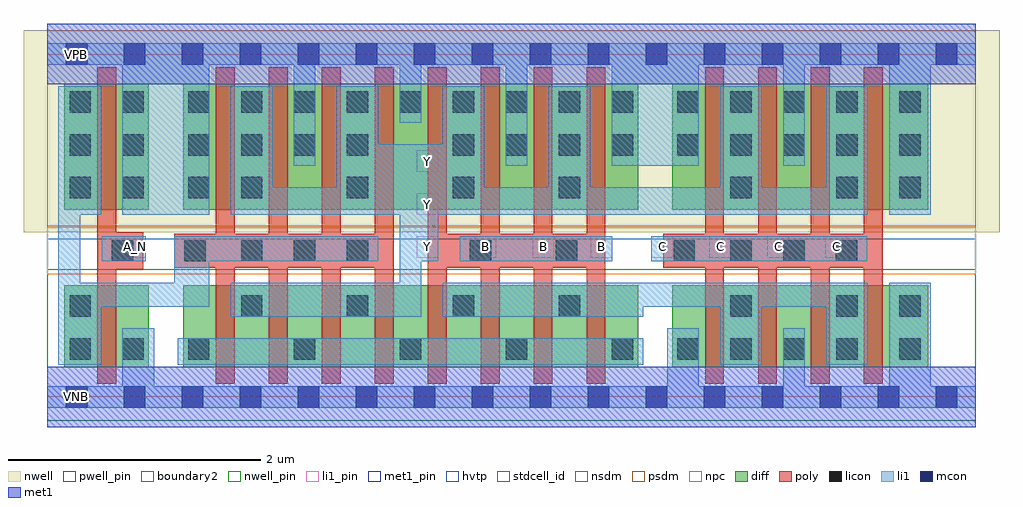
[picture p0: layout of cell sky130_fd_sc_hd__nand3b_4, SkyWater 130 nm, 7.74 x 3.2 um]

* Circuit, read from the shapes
.subckt sky130_fd_sc_hd__nand3b_4 A_N B C VGND VNB VPB VPWR Y
XM1 VGND A_N n1 VNB sky130_fd_pr__nfet_01v8 w=0.65 l=0.15
XM2 Y n1 n2 VNB sky130_fd_pr__nfet_01v8 w=0.65 l=0.15 m=4
XM3 n3 B n2 VNB sky130_fd_pr__nfet_01v8 w=0.65 l=0.15 m=4
XM4 n3 C VGND VNB sky130_fd_pr__nfet_01v8 w=0.65 l=0.15 m=4
XM5 VPWR A_N n1 VPB sky130_fd_pr__pfet_01v8_hvt w=1 l=0.15
XM6 Y n1 VPWR VPB sky130_fd_pr__pfet_01v8_hvt w=1 l=0.15 m=4
XM7 Y B VPWR VPB sky130_fd_pr__pfet_01v8_hvt w=1 l=0.15 m=4
XM8 Y C VPWR VPB sky130_fd_pr__pfet_01v8_hvt w=1 l=0.15 m=4
.ends

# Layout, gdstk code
import gdstk
lib = gdstk.Library(unit=1e-6, precision=1e-09)
def R(c, l, rs):  # rectangles x0, y0, x1, y1
    for r in rs: c.add(gdstk.rectangle(r[:2], r[2:], *l))
def A(c, l, x, y, w, h, nx, ny, dx, dy):  # array of equal rectangles
    R(c, l, [(x+i*dx, y+j*dy, x+i*dx+w, y+j*dy+h) for i in range(nx) for j in range(ny)])
def P(c, l, *ps):  # polygons
    for p in ps: c.add(gdstk.Polygon(p, *l))
nwell_pin = (64, 16)
nwell = (64, 20)
diff = (65, 20)
poly = (66, 20)
licon = (66, 44)
li1_pin = (67, 16)
li1 = (67, 20)
mcon = (67, 44)
met1_pin = (68, 16)
met1 = (68, 20)
hvtp = (78, 44)
stdcell_id = (81, 4)
nsdm = (93, 44)
psdm = (94, 20)
npc = (95, 20)
pwell_pin = (122, 16)
boundary2 = (236, 0)

sky130_fd_sc_hd__nand3b_ = lib.new_cell('sky130_fd_sc_hd__nand3b_4')
R(sky130_fd_sc_hd__nand3b_, nwell_pin, [(0.15,2.635,0.32,2.805)])
R(sky130_fd_sc_hd__nand3b_, nwell, [(-0.19,1.305,7.55,2.91)])
R(sky130_fd_sc_hd__nand3b_, diff, [(0.135,0.235,0.805,0.885), (1.075,0.235,4.685,0.885), (4.955,0.235,6.985,0.885), (0.135,1.485,0.805,2.485), (1.075,1.485,4.685,2.485), (4.955,1.485,6.985,2.485)])
P(sky130_fd_sc_hd__nand3b_, poly, [(6.625,2.615),(6.475,2.615),(6.475,1.295),(6.205,1.295),(6.205,2.615),(6.055,2.615),(6.055,1.295),(5.785,1.295),(5.785,2.615),(5.635,2.615),(5.635,1.295),(5.365,1.295),(5.365,2.615),(5.215,2.615),(5.215,1.295),(4.885,1.295),(4.885,1.025),(5.215,1.025),(5.215,0.105),(5.365,0.105),(5.365,1.025),(5.635,1.025),(5.635,0.105),(5.785,0.105),(5.785,1.025),(6.055,1.025),(6.055,0.105),(6.205,0.105),(6.205,1.025),(6.475,1.025),(6.475,0.105),(6.625,0.105)],
  [(4.425,2.615),(4.275,2.615),(4.275,1.295),(4.005,1.295),(4.005,2.615),(3.855,2.615),(3.855,1.295),(3.585,1.295),(3.585,2.615),(3.435,2.615),(3.435,1.295),(3.165,1.295),(3.165,2.615),(3.015,2.615),(3.015,0.105),(3.165,0.105),(3.165,1.025),(3.435,1.025),(3.435,0.105),(3.585,0.105),(3.585,1.025),(3.855,1.025),(3.855,0.105),(4.005,0.105),(4.005,1.025),(4.275,1.025),(4.275,0.105),(4.425,0.105)],
  [(0.76,1.305),(0.545,1.305),(0.545,2.615),(0.395,2.615),(0.395,0.105),(0.545,0.105),(0.545,1.015),(0.76,1.015)],
  [(2.745,2.615),(2.595,2.615),(2.595,1.295),(2.325,1.295),(2.325,2.615),(2.175,2.615),(2.175,1.295),(1.905,1.295),(1.905,2.615),(1.755,2.615),(1.755,1.295),(1.485,1.295),(1.485,2.615),(1.335,2.615),(1.335,1.295),(1.005,1.295),(1.005,1.025),(1.335,1.025),(1.335,0.105),(1.485,0.105),(1.485,1.025),(1.755,1.025),(1.755,0.105),(1.905,0.105),(1.905,1.025),(2.175,1.025),(2.175,0.105),(2.325,0.105),(2.325,1.025),(2.595,1.025),(2.595,0.105),(2.745,0.105)])
A(sky130_fd_sc_hd__nand3b_, licon, 1.115, 0.295, 0.17, 0.17, 5, 1, 0.84, 0)
A(sky130_fd_sc_hd__nand3b_, licon, 4.995, 0.295, 0.17, 0.17, 4, 2, 0.42, 1.62)
A(sky130_fd_sc_hd__nand3b_, licon, 1.535, 0.635, 0.17, 0.17, 4, 2, 0.84, 0.94)
A(sky130_fd_sc_hd__nand3b_, licon, 1.535, 1.075, 0.17, 0.17, 3, 1, 0.42, 0)
A(sky130_fd_sc_hd__nand3b_, licon, 0.175, 1.575, 0.17, 0.17, 1, 3, 0, 0.34)
A(sky130_fd_sc_hd__nand3b_, licon, 0.595, 1.575, 0.17, 0.17, 1, 3, 0, 0.34)
A(sky130_fd_sc_hd__nand3b_, licon, 6.755, 1.575, 0.17, 0.17, 1, 3, 0, 0.34)
A(sky130_fd_sc_hd__nand3b_, licon, 1.115, 1.915, 0.17, 0.17, 4, 1, 0.42, 0)
A(sky130_fd_sc_hd__nand3b_, licon, 3.215, 1.915, 0.17, 0.17, 4, 1, 0.42, 0)
A(sky130_fd_sc_hd__nand3b_, licon, 1.115, 2.255, 0.17, 0.17, 9, 1, 0.42, 0)
A(sky130_fd_sc_hd__nand3b_, licon, 4.995, 2.255, 0.17, 0.17, 4, 1, 0.42, 0)
R(sky130_fd_sc_hd__nand3b_, licon, [(0.175,0.295,0.345,0.465), (0.595,0.295,0.765,0.465), (6.755,0.295,6.925,0.465), (0.175,0.635,0.345,0.805), (5.415,0.635,5.585,0.805), (6.255,0.635,6.425,0.805), (6.755,0.635,6.925,0.805), (0.51,1.075,0.68,1.245), (1.085,1.075,1.255,1.245), (3.35,1.075,3.52,1.245), (4.03,1.075,4.2,1.245), (4.965,1.075,5.135,1.245), (5.415,1.075,5.585,1.245), (5.835,1.075,6.005,1.245), (6.25,1.075,6.42,1.245), (1.115,1.575,1.285,1.745), (5.415,1.575,5.585,1.745), (6.255,1.575,6.425,1.745)])
A(sky130_fd_sc_hd__nand3b_, li1_pin, 2.93, 1.105, 0.17, 0.17, 4, 1, 0.46, 0)
A(sky130_fd_sc_hd__nand3b_, li1_pin, 4.79, 1.105, 0.17, 0.17, 4, 1, 0.46, 0)
R(sky130_fd_sc_hd__nand3b_, li1_pin, [(0.61,1.105,0.78,1.275), (2.93,1.445,3.1,1.615), (2.93,1.785,3.1,1.955)])
R(sky130_fd_sc_hd__nand3b_, li1, [(1.035,0.255,4.725,0.465), (0.43,1.075,0.78,1.275), (3.27,1.075,4.48,1.275), (4.79,1.075,6.5,1.275)])
P(sky130_fd_sc_hd__nand3b_, li1, [(7.36,0.085),(7.005,0.085),(7.005,0.905),(6.675,0.905),(6.675,0.085),(6.005,0.085),(6.005,0.545),(5.835,0.545),(5.835,0.085),(5.165,0.085),(5.165,0.545),(4.915,0.545),(4.915,0.085),(0.845,0.085),(0.845,0.545),(0.595,0.545),(0.595,0.085),(0,0.085),(0,-0.085),(7.36,-0.085)],
  [(7.36,2.805),(0,2.805),(0,2.635),(0.595,2.635),(0.595,1.445),(1.285,1.445),(1.285,2.635),(1.955,2.635),(1.955,1.835),(2.125,1.835),(2.125,2.635),(2.795,2.635),(2.795,2.175),(2.965,2.175),(2.965,2.635),(3.635,2.635),(3.635,1.835),(3.805,1.835),(3.805,2.635),(4.475,2.635),(4.475,1.835),(5.165,1.835),(5.165,2.635),(5.835,2.635),(5.835,1.835),(6.005,1.835),(6.005,2.635),(6.675,2.635),(6.675,1.445),(7.005,1.445),(7.005,2.635),(7.36,2.635)],
  [(6.505,0.905),(3.135,0.905),(3.135,0.635),(4.725,0.635),(4.725,0.715),(5.335,0.715),(5.335,0.255),(5.665,0.255),(5.665,0.715),(6.175,0.715),(6.175,0.255),(6.505,0.255)],
  [(2.625,1.275),(1.005,1.275),(1.005,0.905),(0.26,0.905),(0.26,1.445),(0.425,1.445),(0.425,2.465),(0.085,2.465),(0.085,0.255),(0.425,0.255),(0.425,0.715),(1.285,0.715),(1.285,1.075),(2.625,1.075)],
  [(6.505,2.465),(6.175,2.465),(6.175,1.665),(5.665,1.665),(5.665,2.465),(5.335,2.465),(5.335,1.665),(4.305,1.665),(4.305,2.465),(3.975,2.465),(3.975,1.665),(3.465,1.665),(3.465,2.465),(3.135,2.465),(3.135,2.005),(2.625,2.005),(2.625,2.465),(2.295,2.465),(2.295,1.665),(1.785,1.665),(1.785,2.465),(1.455,2.465),(1.455,1.445),(2.795,1.445),(2.795,0.905),(1.455,0.905),(1.455,0.635),(2.965,0.635),(2.965,1.075),(3.1,1.075),(3.1,1.445),(6.505,1.445)])
A(sky130_fd_sc_hd__nand3b_, mcon, 0.145, -0.085, 0.17, 0.17, 16, 2, 0.46, 2.72)
R(sky130_fd_sc_hd__nand3b_, met1_pin, [(0.15,-0.085,0.32,0.085), (0.15,2.635,0.32,2.805)])
R(sky130_fd_sc_hd__nand3b_, hvtp, [(0,1.25,7.36,2.72)])
R(sky130_fd_sc_hd__nand3b_, stdcell_id, [(0,0,7.36,2.72)])
R(sky130_fd_sc_hd__nand3b_, nsdm, [(0,-0.19,7.36,1.015)])
R(sky130_fd_sc_hd__nand3b_, psdm, [(0,1.355,7.36,2.91)])
R(sky130_fd_sc_hd__nand3b_, npc, [(0,0.975,7.36,1.345)])
R(sky130_fd_sc_hd__nand3b_, pwell_pin, [(0.15,-0.085,0.32,0.085)])
R(sky130_fd_sc_hd__nand3b_, boundary2, [(0,0,7.36,2.72)])
sky130_fd_sc_hd__nand3b_.add(gdstk.FlexPath([(0,2.72),(7.36,2.72)], 0.48, ends="flush", simple_path=True, layer=68, datatype=20))  # met1
sky130_fd_sc_hd__nand3b_.add(gdstk.FlexPath([(0,0),(7.36,0)], 0.48, ends="flush", simple_path=True, layer=68, datatype=20))  # met1
sky130_fd_sc_hd__nand3b_.add(gdstk.Label('A_N', (0.695,1.19), layer=67, texttype=5))
sky130_fd_sc_hd__nand3b_.add(gdstk.Label('Y', (3.015,1.19), layer=67, texttype=5))
sky130_fd_sc_hd__nand3b_.add(gdstk.Label('Y', (3.015,1.87), layer=67, texttype=5))
sky130_fd_sc_hd__nand3b_.add(gdstk.Label('B', (4.395,1.19), layer=67, texttype=5))
sky130_fd_sc_hd__nand3b_.add(gdstk.Label('B', (3.935,1.19), layer=67, texttype=5))
sky130_fd_sc_hd__nand3b_.add(gdstk.Label('B', (3.475,1.19), layer=67, texttype=5))
sky130_fd_sc_hd__nand3b_.add(gdstk.Label('C', (4.875,1.19), layer=67, texttype=5))
sky130_fd_sc_hd__nand3b_.add(gdstk.Label('C', (5.335,1.19), layer=67, texttype=5))
sky130_fd_sc_hd__nand3b_.add(gdstk.Label('C', (5.795,1.19), layer=67, texttype=5))
sky130_fd_sc_hd__nand3b_.add(gdstk.Label('C', (6.255,1.19), layer=67, texttype=5))
sky130_fd_sc_hd__nand3b_.add(gdstk.Label('Y', (3.015,1.53), layer=67, texttype=5))
sky130_fd_sc_hd__nand3b_.add(gdstk.Label('VNB', (0.23,0), layer=64, texttype=59))
sky130_fd_sc_hd__nand3b_.add(gdstk.Label('VPB', (0.23,2.72), layer=64, texttype=5))
sky130_fd_sc_hd__nand3b_.add(gdstk.Label('VGND', (0.23,0), layer=68, texttype=5))
sky130_fd_sc_hd__nand3b_.add(gdstk.Label('VPWR', (0.23,2.72), layer=68, texttype=5))
sky130_fd_sc_hd__nand3b_.add(gdstk.Label('nand3b_4', (0,0), layer=83, texttype=44))

lib.write_gds('sky130_fd_sc_hd__nand3b_4.gds')
